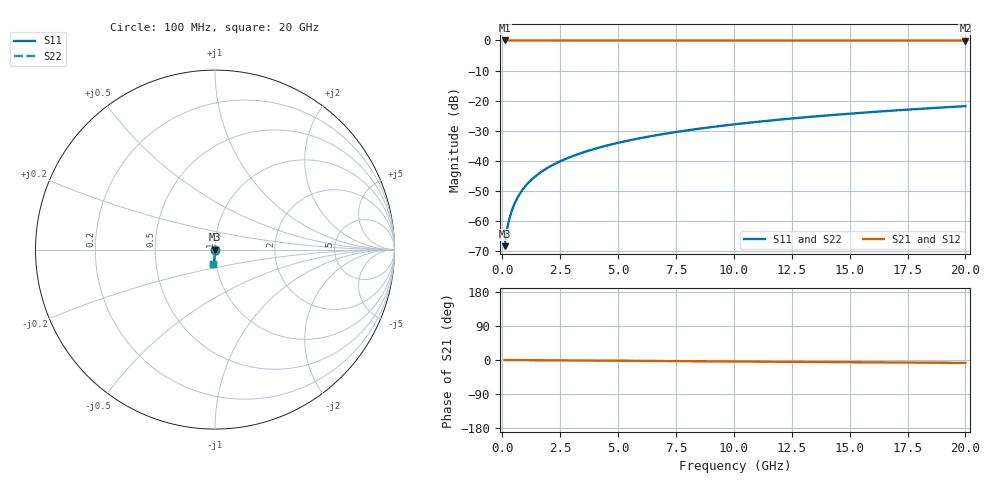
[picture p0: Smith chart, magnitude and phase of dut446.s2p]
! Touchstone file exported from HFSS 2026.1.0
!  File:  C:/ffzhzh/LocalFiles/Ansys_Project_Files/temp_train_TSV_446_1783021584_46388.aedt
!  Generated:  03:47:42 AM Jul  3, 2026
!  Design:  TSV
!  Project:  temp_train_TSV_446_1783021584_46388
! Variables:
!  h_bsmrdl = 2um
!  h_ox = 20um
!  h_rdl = 5um
!  h_sub = 65.71um
!  h_tmrdl = 5um
!  h_tsv = 65.71um
!  h_via = 3um
!  l_bsmrdl = 300um
!  l_sub = 415.8um
!  l_tmrdl = 200um
!  m_sub = 200um
!  pitch = 19.3um
!  r_tsv = 7.9um
!  s_tmrdl = 10um
!  w_bsmrdl = 18um
!  w_sub = 500um
!  w_tmrdl = 12um
!  x_tsv_center1 = 206um
!  x_tsv_center2 = 524um
!  x_tsv_center3 = 736um
!  x_tsv_center4 = 1054um
!  x_tsv_center5 = 1266um
!  x_tsv_center6 = 1584um
# GHz S MA R 50.000000
! Terminal data exported
! Port[1] = TSV1_1_T1
! Port[2] = TSV1_1_T2
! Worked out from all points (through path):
!   200 points, 100 MHz to 20 GHz, reference 50 ohm
!   highest |S21| = 0.00 dB at 100 MHz (marker M1); lowest = 0.0 dB at 20 GHz (marker M2)
!   group delay of S21, straight-line fit = 1.06 ps
!   lowest |S11| = -68.3 dB at 100 MHz (marker M3), VSWR 1.00, Z = 50 - j0.0341 ohm
!   |S11| at or under -10 dB: start of sweep to end of sweep
!   |S22| runs from -68.3 to -21.8 dB; largest |S21 - S12| = 2e-15
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0.1  0.0003837 -62.8  0.9998 -0.0  0.9998 -0.0  0.0003837 -62.8
! Gamma 0 0 0 0
! Port Impedance 50 0 50 0
0.2  0.0007187 -73.9  0.9998 -0.1  0.9998 -0.1  0.0007187 -73.9
0.3  0.001078 -77.5  0.9998 -0.1  0.9998 -0.1  0.001078 -77.5
0.4  0.001452 -79.4  0.9997 -0.2  0.9997 -0.2  0.001452 -79.4
0.5  0.001837 -80.6  0.9997 -0.2  0.9997 -0.2  0.001837 -80.6
0.7  0.002625 -82.2  0.9996 -0.3  0.9996 -0.3  0.002625 -82.2
0.8  0.003024 -82.9  0.9996 -0.3  0.9996 -0.3  0.003024 -82.9
1  0.003826 -83.9  0.9996 -0.4  0.9996 -0.4  0.003826 -83.9
1.2  0.004629 -84.7  0.9995 -0.5  0.9995 -0.5  0.004629 -84.7
1.4  0.005432 -85.4  0.9995 -0.6  0.9995 -0.6  0.005432 -85.4
1.7  0.006636 -86.1  0.9995 -0.7  0.9995 -0.7  0.006636 -86.1
2  0.007839 -86.7  0.9994 -0.8  0.9994 -0.8  0.007839 -86.7
2.7  0.01065 -87.7  0.9993 -1.1  0.9993 -1.1  0.01065 -87.7
3.5  0.01388 -88.4  0.9992 -1.4  0.9992 -1.4  0.01388 -88.4
4.2  0.01671 -88.9  0.9991 -1.6  0.9991 -1.6  0.01671 -88.9
5  0.01996 -89.5  0.9989 -1.9  0.9989 -1.9  0.01996 -89.5
6.8  0.0273 -90.5  0.9986 -2.6  0.9986 -2.6  0.0273 -90.5
8.3  0.03344 -91.2  0.9983 -3.2  0.9983 -3.2  0.03344 -91.2
10.1  0.0408 -92.1  0.9979 -3.9  0.9979 -3.9  0.0408 -92.1
13.4  0.05429 -93.6  0.9971 -5.2  0.9971 -5.2  0.05429 -93.6
16.7  0.06776 -95.0  0.9961 -6.4  0.9961 -6.4  0.06776 -95.0
20  0.0812 -96.4  0.9949 -7.7  0.9949 -7.7  0.0812 -96.4
